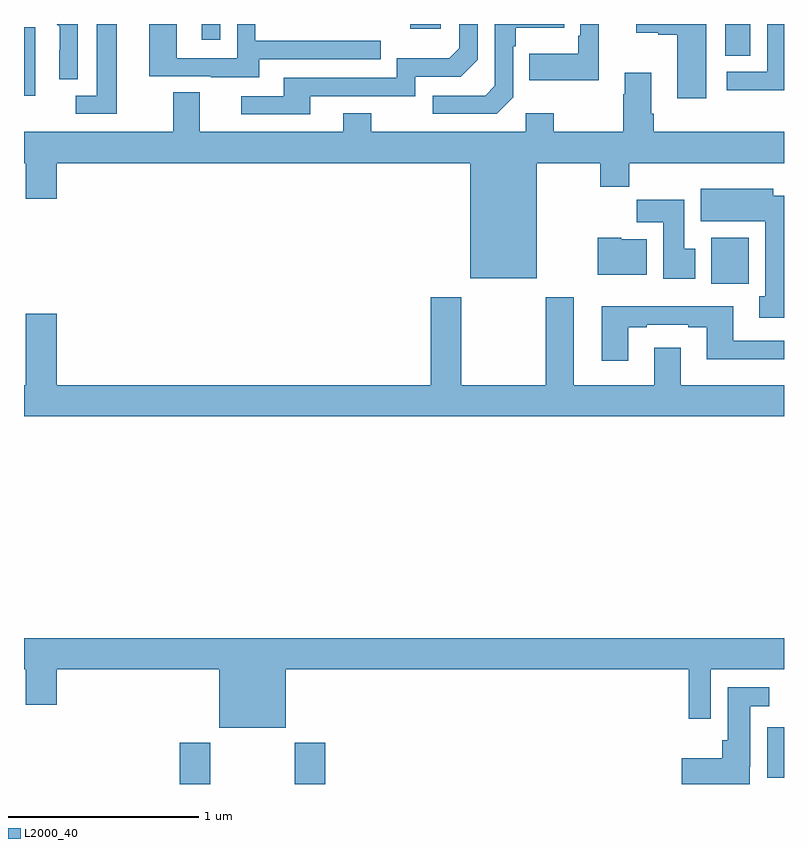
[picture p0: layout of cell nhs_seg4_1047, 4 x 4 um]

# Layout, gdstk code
import gdstk
lib = gdstk.Library(unit=1e-6, precision=1e-09)
def R(c, l, rs):  # rectangles x0, y0, x1, y1
    for r in rs: c.add(gdstk.rectangle(r[:2], r[2:], *l))
def P(c, l, *ps):  # polygons
    for p in ps: c.add(gdstk.Polygon(p, *l))
L2000_40 = (2000, 40)

nhs_seg4_1047 = lib.new_cell('nhs_seg4_1047')
R(nhs_seg4_1047, L2000_40, [(165.821,778.9,165.981,779.116), (166.426,778.9,166.586,779.116), (168.911,778.932,169,779.199), (168.617,781.532,168.814,781.774), (165,782.522,165.058,782.883), (168.692,782.734,168.823,782.9), (165.935,782.817,166.032,782.9), (167.033,782.876,167.194,782.9)])
P(nhs_seg4_1047, L2000_40, [(165.282,782.9),(165.173,782.9),(165.188,782.885),(165.188,782.762),(165.186,782.762),(165.186,782.608),(165.282,782.608)],
  [(168.026,782.9),(167.928,782.9),(167.928,782.839),(167.916,782.839),(167.916,782.743),(167.659,782.743),(167.659,782.603),(168.026,782.603)],
  [(167.574,782.514),(167.574,782.783),(167.587,782.783),(167.587,782.879),(167.843,782.879),(167.843,782.9),(167.478,782.9),(167.478,782.574),(167.427,782.523),(167.151,782.523),(167.151,782.427),(167.487,782.427)],
  [(169,782.9),(168.912,782.9),(168.912,782.649),(168.699,782.649),(168.699,782.551),(169,782.551)],
  [(168.592,782.9),(168.222,782.9),(168.222,782.855),(168.338,782.855),(168.338,782.843),(168.437,782.843),(168.437,782.508),(168.592,782.508)],
  [(166.237,782.715),(166.877,782.715),(166.877,782.811),(166.218,782.811),(166.218,782.9),(166.122,782.9),(166.122,782.721),(165.804,782.721),(165.804,782.9),(165.659,782.9),(165.659,782.625),(165.983,782.625),(165.983,782.621),(166.237,782.621)],
  [(166.507,782.52),(167.058,782.52),(167.058,782.622),(167.298,782.622),(167.388,782.712),(167.388,782.9),(167.292,782.9),(167.292,782.772),(167.239,782.719),(166.962,782.719),(166.962,782.616),(166.367,782.616),(166.367,782.52),(166.143,782.52),(166.143,782.424),(166.507,782.424)],
  [(165.487,782.9),(165.383,782.9),(165.383,782.523),(165.273,782.523),(165.273,782.427),(165.487,782.427)],
  [(167.698,782.168),(168.034,782.168),(168.034,782.044),(168.185,782.044),(168.185,782.168),(169,782.168),(169,782.332),(168.314,782.332),(168.314,782.428),(168.301,782.428),(168.301,782.644),(168.161,782.644),(168.161,782.531),(168.154,782.531),(168.154,782.332),(167.787,782.332),(167.787,782.431),(167.64,782.431),(167.64,782.332),(166.827,782.332),(166.827,782.431),(166.679,782.431),(166.679,782.332),(165.925,782.332),(165.925,782.54),(165.785,782.54),(165.785,782.332),(165,782.332),(165,782.168),(165.008,782.168),(165.008,781.98),(165.172,781.98),(165.172,782.168),(167.348,782.168),(167.348,781.562),(167.698,781.562)],
  [(169,781.996),(168.943,781.996),(168.943,782.032),(168.563,782.032),(168.563,781.862),(168.902,781.862),(168.902,781.466),(168.869,781.466),(168.869,781.353),(169,781.353)],
  [(168.532,781.716),(168.475,781.716),(168.475,781.974),(168.226,781.974),(168.226,781.856),(168.365,781.856),(168.365,781.56),(168.532,781.56)],
  [(168.277,781.768),(168.144,781.768),(168.144,781.774),(168.019,781.774),(168.019,781.58),(168.277,781.58)],
  [(169,781),(168.457,781),(168.457,781.195),(168.317,781.195),(168.317,781),(167.893,781),(167.893,781.462),(167.746,781.462),(167.746,781),(167.301,781),(167.301,781.462),(167.141,781.462),(167.141,781),(165.172,781),(165.172,781.375),(165.008,781.375),(165.008,781),(165,781),(165,780.836),(169,780.836)],
  [(168.181,781.305),(168.277,781.305),(168.277,781.317),(168.497,781.317),(168.497,781.305),(168.593,781.305),(168.593,781.136),(169,781.136),(169,781.233),(168.733,781.233),(168.733,781.414),(168.041,781.414),(168.041,781.128),(168.181,781.128)],
  [(166.378,779.504),(168.499,779.504),(168.499,779.244),(168.615,779.244),(168.615,779.504),(169,779.504),(169,779.668),(165,779.668),(165,779.504),(165.008,779.504),(165.008,779.316),(165.172,779.316),(165.172,779.504),(166.028,779.504),(166.028,779.195),(166.378,779.195)],
  [(168.819,778.99),(168.823,778.99),(168.823,779.309),(168.922,779.309),(168.922,779.41),(168.704,779.41),(168.704,779.13),(168.674,779.13),(168.674,779.035),(168.462,779.035),(168.462,778.9),(168.819,778.9)])

lib.write_gds('nhs_seg4_1047.gds')
